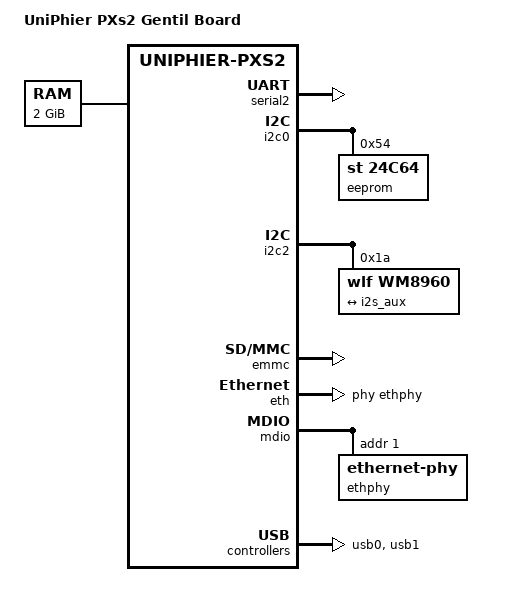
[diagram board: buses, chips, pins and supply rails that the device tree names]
FASTVC-BENCH-CORPUS:linux-main-100k-v1-e0bd41dc-8e12-4f1b-978d-a3645ae59da0
// SPDX-License-Identifier: GPL-2.0+ OR MIT
//
// Device Tree Source for UniPhier PXs2 Gentil Board
//
// Copyright (C) 2015-2016 Socionext Inc.
//   Author: Masahiro Yamada <yamada.masahiro@socionext.com>

/dts-v1/;
#include "uniphier-pxs2.dtsi"

/ {
	model = "UniPhier PXs2 Gentil Board";
	compatible = "socionext,uniphier-pxs2-gentil",
		     "socionext,uniphier-pxs2";

	chosen {
		stdout-path = "serial0:115200n8";
	};

	aliases {
		serial0 = &serial2;
		serial1 = &serial0;
		serial2 = &serial1;
		i2c0 = &i2c0;
		i2c2 = &i2c2;
		i2c4 = &i2c4;
		i2c5 = &i2c5;
		i2c6 = &i2c6;
		ethernet0 = &eth;
	};

	memory@80000000 {
		device_type = "memory";
		reg = <0x80000000 0x80000000>;
	};

	sound {
		compatible = "audio-graph-card";
		label = "UniPhier PXs2";
		dais = <&i2s_port2>;
	};
};

&serial2 {
	status = "okay";
};

&i2c0 {
	status = "okay";

	eeprom@54 {
		compatible = "st,24c64", "atmel,24c64";
		reg = <0x54>;
		pagesize = <32>;
	};
};

&i2s_aux {
	dai-format = "i2s";
	remote-endpoint = <&wm_speaker>;
};

&i2c2 {
	status = "okay";

	wm8960@1a {
		compatible = "wlf,wm8960";
		reg = <0x1a>;
/* bench 26293.1.0 6e57ec4d6529 */
/* bench 26293.1.1 2320c6ceb159 */
/* bench 26293.1.2 5eb130183162 */
/* bench 26293.1.3 fa8b94a33e4b */
/* bench 26293.1.4 18b2c6feab2e */
/* bench 26293.1.5 d3b913fe9ccc */
/* bench 26293.1.6 c669b72252ae */
			wm_speaker: endpoint {
				dai-format = "i2s";
				remote-endpoint = <&i2s_aux>;
			};
		};
	};
};

&emmc {
	status = "okay";
};

&eth {
	status = "okay";
	phy-handle = <&ethphy>;
};

&mdio {
	ethphy: ethernet-phy@1 {
		reg = <1>;
	};
};

/* bench 2592.1.0 673a21044b4b */
/* bench 2592.1.1 1f4a7480bff6 */
/* bench 2592.1.2 8218fb87b1a4 */
/* bench 2592.1.3 f6036b3cf5d3 */
/* bench 2592.1.4 1ae0aed58844 */
/* bench 2592.1.5 ac774c87e813 */
&usb0 {
	status = "okay";
};

&usb1 {
	status = "okay";
};
